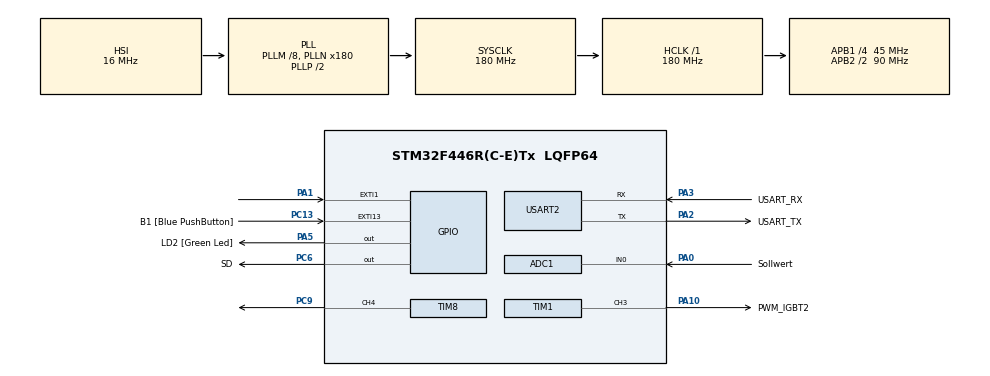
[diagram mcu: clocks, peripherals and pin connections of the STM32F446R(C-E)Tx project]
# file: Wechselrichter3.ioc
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ADC1.Channel-0\#ChannelRegularConversion=ADC_CHANNEL_0
ADC1.NbrOfConversionFlag=1
ADC1.Rank-0\#ChannelRegularConversion=1
ADC1.Resolution=ADC_RESOLUTION_8B
ADC1.SamplingTime-0\#ChannelRegularConversion=ADC_SAMPLETIME_84CYCLES
ADC1.ScanConvMode=ENABLE
ADC1.master=1
Dma.ADC1.1.Direction=DMA_PERIPH_TO_MEMORY
Dma.ADC1.1.FIFOMode=DMA_FIFOMODE_DISABLE
Dma.ADC1.1.Instance=DMA2_Stream0
Dma.ADC1.1.MemDataAlignment=DMA_MDATAALIGN_HALFWORD
Dma.ADC1.1.MemInc=DMA_MINC_ENABLE
Dma.ADC1.1.Mode=DMA_NORMAL
Dma.ADC1.1.PeriphDataAlignment=DMA_PDATAALIGN_HALFWORD
Dma.ADC1.1.PeriphInc=DMA_PINC_DISABLE
Dma.ADC1.1.Priority=DMA_PRIORITY_LOW
Dma.Request0=TIM1_CH3
Dma.Request1=ADC1
Dma.Request2=TIM8_CH4/TRIG/COM
Dma.TIM1_CH3.0.Direction=DMA_MEMORY_TO_PERIPH
Dma.TIM1_CH3.0.FIFOMode=DMA_FIFOMODE_ENABLE
Dma.TIM1_CH3.0.FIFOThreshold=DMA_FIFO_THRESHOLD_FULL
Dma.TIM1_CH3.0.Instance=DMA2_Stream6
Dma.TIM1_CH3.0.MemBurst=DMA_MBURST_SINGLE
Dma.TIM1_CH3.0.MemDataAlignment=DMA_MDATAALIGN_HALFWORD
Dma.TIM1_CH3.0.MemInc=DMA_MINC_ENABLE
Dma.TIM1_CH3.0.Mode=DMA_CIRCULAR
Dma.TIM1_CH3.0.PeriphBurst=DMA_PBURST_SINGLE
Dma.TIM1_CH3.0.PeriphDataAlignment=DMA_PDATAALIGN_HALFWORD
Dma.TIM1_CH3.0.PeriphInc=DMA_PINC_DISABLE
Dma.TIM1_CH3.0.Priority=DMA_PRIORITY_LOW
Dma.TIM8_CH4/TRIG/COM.2.Direction=DMA_MEMORY_TO_PERIPH
Dma.TIM8_CH4/TRIG/COM.2.FIFOMode=DMA_FIFOMODE_ENABLE
Dma.TIM8_CH4/TRIG/COM.2.FIFOThreshold=DMA_FIFO_THRESHOLD_FULL
Dma.TIM8_CH4/TRIG/COM.2.Instance=DMA2_Stream7
Dma.TIM8_CH4/TRIG/COM.2.MemBurst=DMA_MBURST_SINGLE
Dma.TIM8_CH4/TRIG/COM.2.MemDataAlignment=DMA_MDATAALIGN_HALFWORD
Dma.TIM8_CH4/TRIG/COM.2.MemInc=DMA_MINC_ENABLE
Dma.TIM8_CH4/TRIG/COM.2.Mode=DMA_CIRCULAR
Dma.TIM8_CH4/TRIG/COM.2.PeriphBurst=DMA_PBURST_SINGLE
Dma.TIM8_CH4/TRIG/COM.2.PeriphDataAlignment=DMA_PDATAALIGN_HALFWORD
Dma.TIM8_CH4/TRIG/COM.2.PeriphInc=DMA_PINC_DISABLE
Dma.TIM8_CH4/TRIG/COM.2.Priority=DMA_PRIORITY_LOW
Mcu.Family=STM32F4
Mcu.Name=STM32F446R(C-E)Tx
Mcu.Package=LQFP64
NVIC.DMA2_Stream0_IRQn=true\:0\:0\:false\:false\:true\:false\:true
NVIC.DMA2_Stream6_IRQn=true\:0\:0\:false\:false\:true\:false\:true
NVIC.DMA2_Stream7_IRQn=true\:0\:0\:false\:false\:true\:false\:true
NVIC.EXTI1_IRQn=true\:0\:0\:false\:false\:true\:true\:true
NVIC.PriorityGroup=NVIC_PRIORITYGROUP_0
NVIC.TIM1_TRG_COM_TIM11_IRQn=true\:0\:0\:false\:false\:true\:true\:true
NVIC.TIM1_UP_TIM10_IRQn=true\:0\:0\:false\:false\:true\:true\:true
NVIC.TIM8_UP_TIM13_IRQn=true\:0\:0\:false\:false\:true\:true\:true
PA0-WKUP.GPIO_Label=Sollwert
PA0-WKUP.Signal=ADCx_IN0
PA1.Signal=GPXTI1
PA10.GPIO_Label=PWM_IGBT2
PA10.Signal=S_TIM1_CH3
PA13.GPIO_Label=TMS
PA13.Mode=Serial_Wire
PA13.Signal=SYS_JTMS-SWDIO
PA14.GPIO_Label=TCK
PA14.Mode=Serial_Wire
PA14.Signal=SYS_JTCK-SWCLK
PA2.GPIO_Label=USART_TX
PA2.Mode=Asynchronous
PA2.Signal=USART2_TX
PA3.GPIO_Label=USART_RX
PA3.Mode=Asynchronous
PA3.Signal=USART2_RX
PA5.GPIO_Label=LD2 [Green Led]
PA5.Signal=GPIO_Output
PB3.GPIO_Label=SWO
PB3.Signal=SYS_JTDO-SWO
PC13.GPIO_Label=B1 [Blue PushButton]
PC13.GPIO_ModeDefaultEXTI=GPIO_MODE_IT_FALLING
PC13.Signal=GPXTI13
PC14-OSC32_IN.Mode=LSE-External-Oscillator
PC14-OSC32_IN.Signal=RCC_OSC32_IN
PC15-OSC32_OUT.Mode=LSE-External-Oscillator
PC15-OSC32_OUT.Signal=RCC_OSC32_OUT
PC6.GPIO_Label=SD
PC6.Signal=GPIO_Output
PC9.Signal=S_TIM8_CH4
PH0-OSC_IN.Mode=HSE-External-Oscillator
PH0-OSC_IN.Signal=RCC_OSC_IN
PH1-OSC_OUT.Mode=HSE-External-Oscillator
PH1-OSC_OUT.Signal=RCC_OSC_OUT
ProjectManager.HeapSize=0x200
ProjectManager.StackSize=0x400
ProjectManager.TargetToolchain=SW4STM32
RCC.48MHZClocksFreq_Value=84000000
RCC.AHBFreq_Value=180000000
RCC.APB1CLKDivider=RCC_HCLK_DIV4
RCC.APB1Freq_Value=45000000
RCC.APB1TimFreq_Value=90000000
RCC.APB2CLKDivider=RCC_HCLK_DIV2
RCC.APB2Freq_Value=90000000
RCC.APB2TimFreq_Value=180000000
RCC.CortexFreq_Value=180000000
RCC.FLatency-AdvancedSettings=FLASH_LATENCY_5
RCC.HCLKFreq_Value=180000000
RCC.HSE_VALUE=8000000
RCC.HSI_VALUE=16000000
RCC.PLLM=8
RCC.PLLN=180
RCC.SYSCLKFreq_VALUE=180000000
RCC.SYSCLKSource=RCC_SYSCLKSOURCE_PLLCLK
RCC.USBFreq_Value=180000000
RCC.VCOOutputFreq_Value=360000000
SH.ADCx_IN0.0=ADC1_IN0,IN0
SH.S_TIM1_CH3.0=TIM1_CH3,PWM Generation3 CH3
SH.S_TIM8_CH4.0=TIM8_CH4,PWM Generation4 CH4
TIM1.AutoReloadPreload=TIM_AUTORELOAD_PRELOAD_DISABLE
TIM1.BreakState=TIM_BREAK_DISABLE
TIM1.Channel-PWM\ Generation3\ CH3=TIM_CHANNEL_3
TIM1.OCFastMode_PWM-PWM\ Generation3\ CH3=TIM_OCFAST_ENABLE
TIM1.Period=499
TIM1.Prescaler=71
TIM1.TIM_MasterOutputTrigger=TIM_TRGO_UPDATE
TIM1.TIM_MasterSlaveMode=TIM_MASTERSLAVEMODE_DISABLE
TIM10.AutoReloadPreload=TIM_AUTORELOAD_PRELOAD_ENABLE
TIM10.Period=9999
TIM10.Prescaler=71
TIM8.AutoReloadPreload=TIM_AUTORELOAD_PRELOAD_ENABLE
TIM8.Channel-PWM\ Generation4\ CH4=TIM_CHANNEL_4
TIM8.Period=499
TIM8.Prescaler=71
TIM8.TIM_MasterOutputTrigger=TIM_TRGO_UPDATE
USART2.VirtualMode=VM_ASYNC
VP_TIM10_VS_ClockSourceINT.Mode=Enable_Timer
VP_TIM1_VS_ClockSourceINT.Mode=Internal
board=NUCLEO-F446RE

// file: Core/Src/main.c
/* USER CODE BEGIN Header */
/**
  ******************************************************************************
  * @file           : main.c
  * @brief          : Main program body
  ******************************************************************************
  * @attention
  *
  * <h2><center>&copy; Copyright (c) 2020 STMicroelectronics.
  * All rights reserved.</center></h2>
  *
  * This software component is licensed by ST under BSD 3-Clause license,
  * the "License"; You may not use this file except in compliance with the
  * License. You may obtain a copy of the License at:
  *                        opensource.org/licenses/BSD-3-Clause
  *
  ******************************************************************************
  */
/* USER CODE END Header */
#include "main.h"
#include "adc.h"
#include "dma.h"
#include "tim.h"
#include "usart.h"
#include "gpio.h"

/* USER CODE BEGIN Includes */
#include "stdio.h"
#include "Wechselrichter.h"
/* USER CODE END Includes */

/* USER CODE BEGIN PV */

uint8_t Puls_INT =0;
uint8_t Sollwert =0;
uint8_t Sollwert_ALT=0;

volatile uint8_t EIN_AUS =0;

double Sollwert_Double =0;

volatile static char DMA_CH2 [511];
volatile static char DMA_CH [511];

/* USER CODE END PV */

void SystemClock_Config(void);
/* USER CODE BEGIN PFP */
#ifdef __GNUC__
  #define PUTCHAR_PROTOTYPE int __io_putchar (int ch)
#else
  #define PUTCHAR_PROTOTYPE int fputc (int ch, FILE *f)
#endif /*__GNUC__*/

PUTCHAR_PROTOTYPE
{
	HAL_UART_Transmit (&huart2, (uint8_t*) &ch, 1, 0xFFFF);
	return ch;
}
/* USER CODE END PFP */

int main(void)
{
  /* USER CODE BEGIN 1 */

	 HAL_ADC_Start(&hadc1);																				// Der ADC-Wandler 1 wird Aufgerufen und "eingeschaltet"
	 HAL_ADC_PollForConversion(&hadc1,100);																// Es wird gewartet, bis der ADC_Wandler fertig für die Kommunikation ist
	 Sollwert =HAL_ADC_GetValue(&hadc1);																// Der Variable Sollwert, wird der Wert des ADC_Wandlers übergeben
	 Sollwert_Double =Sollwert/35;

	 uint16_t *DMA_CH;																					// DMA_CH wird als uint16_t gecastet
	 DMA_CH = (uint16_t*) getPWM_Array1(Sollwert_Double) ;												// DMA_CH werden die Werte der Funktion "getPWM_Array1" übergeben

	 uint16_t *DMA_CH2;																					// DMA_CH2 wird als uint16_t gecastet
	 DMA_CH2 = (uint16_t*) getPWM_Array2(Sollwert_Double) ;												// DMA_CH2 werden die Werte der Funktion "getPWM_Array2" übergeben

  /* USER CODE END 1 */

  /* MCU Configuration--------------------------------------------------------*/

  /* Reset of all peripherals, Initializes the Flash interface and the Systick. */
  HAL_Init();

  /* Configure the system clock */
  SystemClock_Config();

  /* Initialize all configured peripherals */
  MX_GPIO_Init();
  MX_DMA_Init();
  MX_ADC1_Init();
  MX_TIM1_Init();
  MX_USART2_UART_Init();
  MX_TIM8_Init();
  MX_TIM10_Init();

  /* Infinite loop */
  while (1)
  {

    /* USER CODE BEGIN 3 */
	  if (EIN_AUS==1)
	  {																									// wenn EIN_AUS den Wert 1 hat, wird folgendes ausgeführt:
		  HAL_ADC_Start(&hadc1);																		// Der ADC-Wandler 1 wird Aufgerufen und "eingeschaltet"
		  HAL_ADC_PollForConversion(&hadc1,100);														// Es wird gewartet, bis der ADC_Wandler fertig für die Kommunikation ist

		  Sollwert =HAL_ADC_GetValue(&hadc1);															// Der Variable Sollwert, wird der Wert des ADC_Wandlers übergeben
		  Sollwert_Double =Sollwert/35;																	// Der Variable Sollwert_double wird der Wert (Sollwert/35) übergeben

		  HAL_GPIO_WritePin(SD_GPIO_Port,SD_Pin,SET);													// Der shutdown vom IR2110 wird deaktiviert (der IR wird freigegeben)

		  HAL_TIM_PWM_Start_DMA( &htim8, TIM_CHANNEL_4, (uint32_t*)DMA_CH, 511);						// Der Timer 8 starten den Channel 4 über DMA

		  HAL_TIM_PWM_Start_DMA( &htim1, TIM_CHANNEL_3, (uint32_t*)DMA_CH2, 511);						// Der Timer 1 starten den Channel 3 über DMA

		  if (Sollwert_ALT-3>Sollwert||Sollwert_ALT+3<=Sollwert)										// Wenn der Sollwert eine abweichung von mehr als 3 digits hat, wird folgendes ausgeführt:
		  {
			  uint16_t *DMA_CH;																			// DMA_CH wird als uint16_t gecastet
			  DMA_CH = (uint16_t*) getPWM_Array1(Sollwert_Double) ;										// DMA_CH werden die Werte der Funktion "getPWM_Array1" übergeben

			  uint16_t *DMA_CH2;																		// DMA_CH2 wird als uint16_t gecastet
			  DMA_CH2 = (uint16_t*) getPWM_Array2(Sollwert_Double) ;									// DMA_CH2 werden die Werte der Funktion "getPWM_Array2" übergeben

			  NEW_Pres(Sollwert_Double);																// Die funktion "NEW_Pres" wird aufgerufen um den Prescaler zu verändern

			  Sollwert_ALT=Sollwert;																	// Der Variable Sollwert_ALT wird der Wert der Variable Sollwert zugewiesen
		}
	  }

	  else
	  {
		  HAL_GPIO_WritePin(SD_GPIO_Port,SD_Pin,RESET);													// Der shutdown vom IR2110 wird aktiviert (der IR wird blockiert)
		  HAL_TIM_PWM_Stop_DMA(&htim8,TIM_CHANNEL_4);													// Der Timer 8 stoppt den Channel 4 über DMA
		  HAL_TIM_PWM_Stop_DMA(&htim1,TIM_CHANNEL_3);													// Der Timer 1 stoppt den Channel 3 über DMA
	  }
  }

  /* USER CODE END 3 */
}

void SystemClock_Config(void)
{
  RCC_OscInitTypeDef RCC_OscInitStruct = {0};
  RCC_ClkInitTypeDef RCC_ClkInitStruct = {0};

  /** Configure the main internal regulator output voltage
  */
  __HAL_RCC_PWR_CLK_ENABLE();
  __HAL_PWR_VOLTAGESCALING_CONFIG(PWR_REGULATOR_VOLTAGE_SCALE1);
  /** Initializes the RCC Oscillators according to the specified parameters
  * in the RCC_OscInitTypeDef structure.
  */
  RCC_OscInitStruct.OscillatorType = RCC_OSCILLATORTYPE_HSI;
  RCC_OscInitStruct.HSIState = RCC_HSI_ON;
  RCC_OscInitStruct.HSICalibrationValue = RCC_HSICALIBRATION_DEFAULT;
  RCC_OscInitStruct.PLL.PLLState = RCC_PLL_ON;
  RCC_OscInitStruct.PLL.PLLSource = RCC_PLLSOURCE_HSI;
  RCC_OscInitStruct.PLL.PLLM = 8;
  RCC_OscInitStruct.PLL.PLLN = 180;
  RCC_OscInitStruct.PLL.PLLP = RCC_PLLP_DIV2;
  RCC_OscInitStruct.PLL.PLLQ = 2;
  RCC_OscInitStruct.PLL.PLLR = 2;
  if (HAL_RCC_OscConfig(&RCC_OscInitStruct) != HAL_OK)
  {
    Error_Handler();
  }
  /** Activate the Over-Drive mode
  */
  if (HAL_PWREx_EnableOverDrive() != HAL_OK)
  {
    Error_Handler();
  }
  /** Initializes the CPU, AHB and APB buses clocks
  */
  RCC_ClkInitStruct.ClockType = RCC_CLOCKTYPE_HCLK|RCC_CLOCKTYPE_SYSCLK
                              |RCC_CLOCKTYPE_PCLK1|RCC_CLOCKTYPE_PCLK2;
  RCC_ClkInitStruct.SYSCLKSource = RCC_SYSCLKSOURCE_PLLCLK;
  RCC_ClkInitStruct.AHBCLKDivider = RCC_SYSCLK_DIV1;
  RCC_ClkInitStruct.APB1CLKDivider = RCC_HCLK_DIV4;
  RCC_ClkInitStruct.APB2CLKDivider = RCC_HCLK_DIV2;

  if (HAL_RCC_ClockConfig(&RCC_ClkInitStruct, FLASH_LATENCY_5) != HAL_OK)
  {
    Error_Handler();
  }
}

void Error_Handler(void)
{
  /* USER CODE BEGIN Error_Handler_Debug */
  /* User can add his own implementation to report the HAL error return state */
	/*Error_Mes();*/
  /* USER CODE END Error_Handler_Debug */
}

/************************ (C) COPYRIGHT STMicroelectronics *****END OF FILE****/
